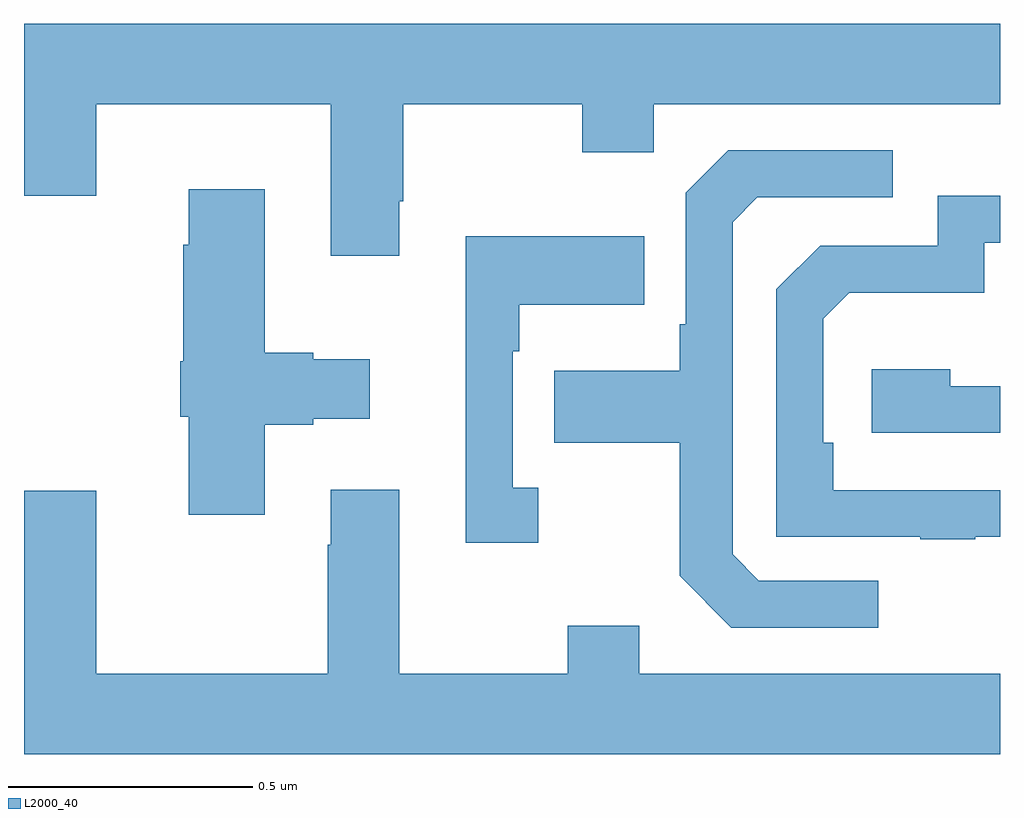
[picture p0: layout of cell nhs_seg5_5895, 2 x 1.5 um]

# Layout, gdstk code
import gdstk
lib = gdstk.Library(unit=1e-6, precision=1e-09)
def P(c, l, *ps):  # polygons
    for p in ps: c.add(gdstk.Polygon(p, *l))
L2000_40 = (2000, 40)

nhs_seg5_5895 = lib.new_cell('nhs_seg5_5895')
P(nhs_seg5_5895, L2000_40, [(189.769,851.233),(189.777,851.233),(189.777,851.432),(190.144,851.432),(190.144,851.333),(190.29,851.333),(190.29,851.432),(191,851.432),(191,851.596),(189,851.596),(189,851.244),(189.148,851.244),(189.148,851.432),(189.629,851.432),(189.629,851.121),(189.769,851.121)],
  [(190.75,850.455),(190.506,850.455),(190.452,850.509),(190.452,851.19),(190.503,851.241),(190.78,851.241),(190.78,851.337),(190.443,851.337),(190.356,851.25),(190.356,850.981),(190.344,850.981),(190.344,850.885),(190.087,850.885),(190.087,850.738),(190.344,850.738),(190.344,850.465),(190.449,850.359),(190.75,850.359)],
  [(189.493,850.775),(189.593,850.775),(189.593,850.787),(189.709,850.787),(189.709,850.909),(189.593,850.909),(189.593,850.922),(189.493,850.922),(189.493,851.257),(189.338,851.257),(189.338,851.144),(189.326,851.144),(189.326,850.905),(189.32,850.905),(189.32,850.791),(189.338,850.791),(189.338,850.59),(189.493,850.59)],
  [(190.949,850.545),(191,850.545),(191,850.641),(190.658,850.641),(190.658,850.738),(190.638,850.738),(190.638,850.992),(190.691,851.045),(190.968,851.045),(190.968,851.148),(191,851.148),(191,851.244),(190.872,851.244),(190.872,851.142),(190.632,851.142),(190.542,851.052),(190.542,850.545),(190.837,850.545),(190.837,850.54),(190.949,850.54)],
  [(190.054,850.646),(190.002,850.646),(190.002,850.925),(190.015,850.925),(190.015,851.021),(190.271,851.021),(190.271,851.161),(189.905,851.161),(189.905,850.533),(190.054,850.533)],
  [(191,850.854),(190.898,850.854),(190.898,850.888),(190.737,850.888),(190.737,850.758),(191,850.758)],
  [(191,850.264),(190.261,850.264),(190.261,850.363),(190.114,850.363),(190.114,850.264),(189.769,850.264),(189.769,850.642),(189.629,850.642),(189.629,850.529),(189.622,850.529),(189.622,850.264),(189.148,850.264),(189.148,850.639),(189,850.639),(189,850.1),(191,850.1)])

lib.write_gds('nhs_seg5_5895.gds')
